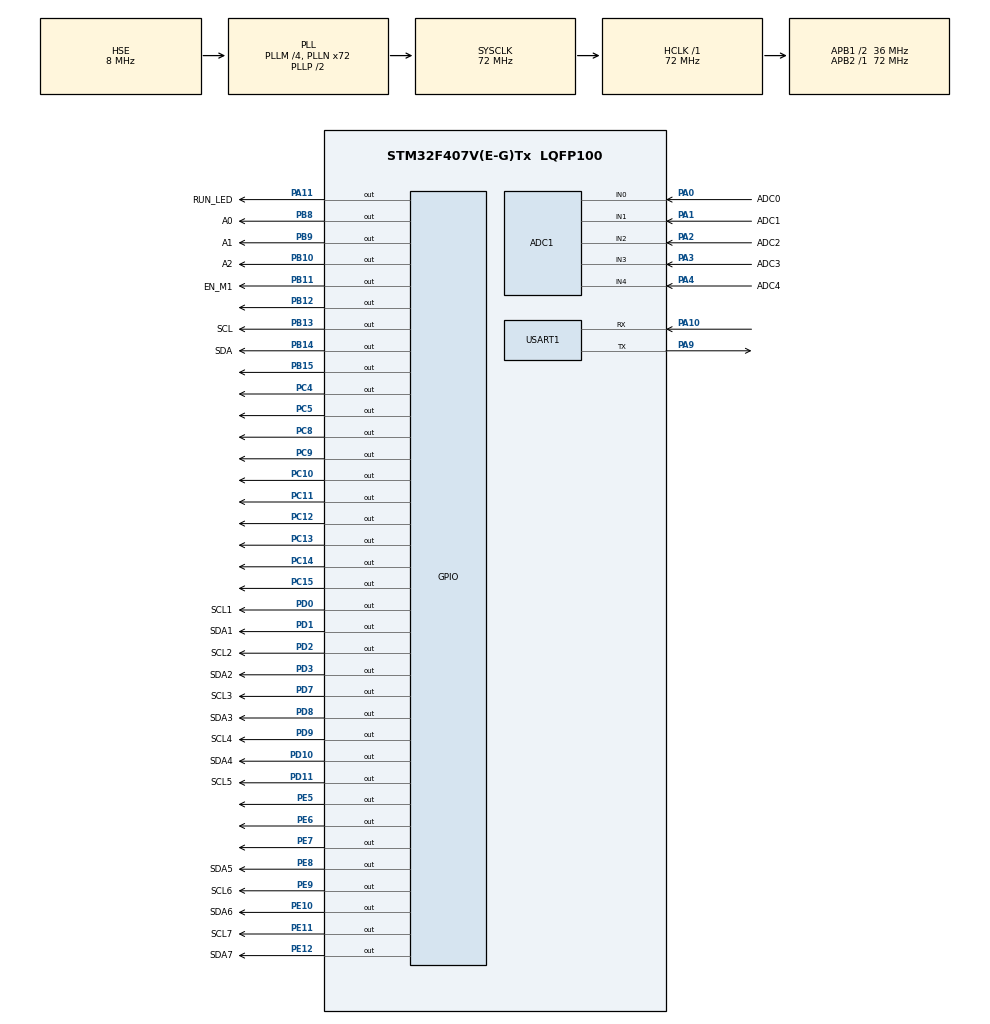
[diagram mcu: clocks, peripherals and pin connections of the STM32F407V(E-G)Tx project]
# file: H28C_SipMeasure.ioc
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ADC1.Channel-0\#ChannelRegularConversion=ADC_CHANNEL_0
ADC1.Channel-1\#ChannelRegularConversion=ADC_CHANNEL_1
ADC1.Channel-2\#ChannelRegularConversion=ADC_CHANNEL_2
ADC1.Channel-3\#ChannelRegularConversion=ADC_CHANNEL_3
ADC1.Channel-4\#ChannelRegularConversion=ADC_CHANNEL_4
ADC1.ContinuousConvMode=ENABLE
ADC1.NbrOfConversion=5
ADC1.NbrOfConversionFlag=1
ADC1.Rank-0\#ChannelRegularConversion=1
ADC1.Rank-1\#ChannelRegularConversion=2
ADC1.Rank-2\#ChannelRegularConversion=3
ADC1.Rank-3\#ChannelRegularConversion=4
ADC1.Rank-4\#ChannelRegularConversion=5
ADC1.SamplingTime-0\#ChannelRegularConversion=ADC_SAMPLETIME_144CYCLES
ADC1.SamplingTime-1\#ChannelRegularConversion=ADC_SAMPLETIME_144CYCLES
ADC1.SamplingTime-2\#ChannelRegularConversion=ADC_SAMPLETIME_144CYCLES
ADC1.SamplingTime-3\#ChannelRegularConversion=ADC_SAMPLETIME_144CYCLES
ADC1.SamplingTime-4\#ChannelRegularConversion=ADC_SAMPLETIME_144CYCLES
ADC1.ScanConvMode=ENABLE
ADC1.master=1
Mcu.Family=STM32F4
Mcu.Name=STM32F407V(E-G)Tx
Mcu.Package=LQFP100
NVIC.PriorityGroup=NVIC_PRIORITYGROUP_4
NVIC.TIM7_IRQn=true\:0\:0\:false\:false\:true\:true\:true\:true
NVIC.USART1_IRQn=true\:1\:0\:true\:false\:true\:true\:true\:true
PA0-WKUP.GPIO_Label=ADC0
PA0-WKUP.Signal=ADCx_IN0
PA1.GPIO_Label=ADC1
PA1.Signal=ADCx_IN1
PA10.Mode=Asynchronous
PA10.Signal=USART1_RX
PA11.GPIO_Label=RUN_LED
PA11.Signal=GPIO_Output
PA13.Mode=Serial_Wire
PA13.Signal=SYS_JTMS-SWDIO
PA14.Mode=Serial_Wire
PA14.Signal=SYS_JTCK-SWCLK
PA2.GPIO_Label=ADC2
PA2.Signal=ADCx_IN2
PA3.GPIO_Label=ADC3
PA3.Signal=ADCx_IN3
PA4.GPIO_Label=ADC4
PA4.Signal=ADCx_IN4
PA9.Mode=Asynchronous
PA9.Signal=USART1_TX
PB10.GPIO_Label=A2
PB10.Signal=GPIO_Output
PB11.GPIO_Label=EN_M1
PB11.Signal=GPIO_Output
PB12.Signal=GPIO_Output
PB13.GPIO_Label=SCL
PB13.Signal=GPIO_Output
PB14.GPIO_Label=SDA
PB14.Signal=GPIO_Output
PB15.Signal=GPIO_Output
PB8.GPIO_Label=A0
PB8.Signal=GPIO_Output
PB9.GPIO_Label=A1
PB9.Signal=GPIO_Output
PC10.Signal=GPIO_Output
PC11.Signal=GPIO_Output
PC12.Signal=GPIO_Output
PC13-ANTI_TAMP.Signal=GPIO_Output
PC14-OSC32_IN.Signal=GPIO_Output
PC15-OSC32_OUT.Signal=GPIO_Output
PC4.Signal=GPIO_Output
PC5.Signal=GPIO_Output
PC8.Signal=GPIO_Output
PC9.Signal=GPIO_Output
PD0.GPIO_Label=SCL1
PD0.Signal=GPIO_Output
PD1.GPIO_Label=SDA1
PD1.Signal=GPIO_Output
PD10.GPIO_Label=SDA4
PD10.Signal=GPIO_Output
PD11.GPIO_Label=SCL5
PD11.Signal=GPIO_Output
PD2.GPIO_Label=SCL2
PD2.Signal=GPIO_Output
PD3.GPIO_Label=SDA2
PD3.Signal=GPIO_Output
PD7.GPIO_Label=SCL3
PD7.Signal=GPIO_Output
PD8.GPIO_Label=SDA3
PD8.Signal=GPIO_Output
PD9.GPIO_Label=SCL4
PD9.Signal=GPIO_Output
PE10.GPIO_Label=SDA6
PE10.Signal=GPIO_Output
PE11.GPIO_Label=SCL7
PE11.Signal=GPIO_Output
PE12.GPIO_Label=SDA7
PE12.Signal=GPIO_Output
PE5.Signal=GPIO_Output
PE6.Signal=GPIO_Output
PE7.Signal=GPIO_Output
PE8.GPIO_Label=SDA5
PE8.Signal=GPIO_Output
PE9.GPIO_Label=SCL6
PE9.Signal=GPIO_Output
PH0-OSC_IN.Mode=HSE-External-Clock-Source
PH0-OSC_IN.Signal=RCC_OSC_IN
PH1-OSC_OUT.Mode=HSE-External-Clock-Source
PH1-OSC_OUT.Signal=RCC_OSC_OUT
ProjectManager.HeapSize=0x200
ProjectManager.StackSize=0x400
ProjectManager.TargetToolchain=SW4STM32
RCC.48MHZClocksFreq_Value=36000000
RCC.AHBFreq_Value=72000000
RCC.APB1CLKDivider=RCC_HCLK_DIV2
RCC.APB1Freq_Value=36000000
RCC.APB1TimFreq_Value=72000000
RCC.APB2Freq_Value=72000000
RCC.APB2TimFreq_Value=72000000
RCC.CortexFreq_Value=72000000
RCC.HCLKFreq_Value=72000000
RCC.HSE_VALUE=8000000
RCC.HSI_VALUE=16000000
RCC.LSE_VALUE=32768
RCC.PLLM=4
RCC.PLLN=72
RCC.PLLSourceVirtual=RCC_PLLSOURCE_HSE
RCC.SYSCLKFreq_VALUE=72000000
RCC.SYSCLKSource=RCC_SYSCLKSOURCE_PLLCLK
RCC.VCOOutputFreq_Value=144000000
SH.ADCx_IN0.0=ADC1_IN0,IN0
SH.ADCx_IN1.0=ADC1_IN1,IN1
SH.ADCx_IN2.0=ADC1_IN2,IN2
SH.ADCx_IN3.0=ADC1_IN3,IN3
SH.ADCx_IN4.0=ADC1_IN4,IN4
TIM7.Period=1000
TIM7.Prescaler=71
USART1.VirtualMode=VM_ASYNC
VP_TIM7_VS_ClockSourceINT.Mode=Enable_Timer
board=custom

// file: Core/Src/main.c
/* USER CODE BEGIN Header */
/**
  ******************************************************************************
  * @file           : main.c
  * @brief          : Main program body
  ******************************************************************************
  * @attention
  *
  * Copyright (c) 2023 STMicroelectronics.
  * All rights reserved.
  *
  * This software is licensed under terms that can be found in the LICENSE file
  * in the root directory of this software component.
  * If no LICENSE file comes with this software, it is provided AS-IS.
  *
  ******************************************************************************
  */
/* USER CODE END Header */
#include "main.h"
#include "adc.h"
#include "tim.h"
#include "usart.h"
#include "gpio.h"

/* USER CODE BEGIN Includes */
#include "command.h"
#include "stdio.h"
/* USER CODE END Includes */

/* USER CODE BEGIN PV */
char string[50] ={};
uint8_t rx=0;
char uart_index = 0;
char uart_finished_flag = 0;
/* USER CODE END PV */

void SystemClock_Config(void);

/* USER CODE BEGIN 0 */
int _write(int fd,char *ptr,int len)
{
    HAL_UART_Transmit(&huart1,(uint8_t*)ptr,len,0xffff);
    return len;
}
/* USER CODE END 0 */

int main(void)
{

  /* MCU Configuration--------------------------------------------------------*/

  /* Reset of all peripherals, Initializes the Flash interface and the Systick. */
  HAL_Init();

  /* Configure the system clock */
  SystemClock_Config();

  /* Initialize all configured peripherals */
  MX_GPIO_Init();
  MX_ADC1_Init();
  MX_TIM7_Init();
  MX_USART1_UART_Init();
  /* USER CODE BEGIN 2 */
    HAL_GPIO_WritePin(GPIOC,GPIO_PIN_6,1);
    HAL_GPIO_WritePin(GPIOC,GPIO_PIN_0,0);
    HAL_GPIO_WritePin(GPIOC,GPIO_PIN_1,1);
  HAL_UART_Receive_IT(&huart1,(uint8_t *)&rx,1);
  HAL_TIM_Base_Start_IT(&htim7);

  /* USER CODE END 2 */

  /* Infinite loop */
  while (1)
  {
    /* USER CODE BEGIN 3 */
      if (uart_finished_flag==1){
//          printf("%s\n",string);
          CmdCheck((char *)string);
          uart_finished_flag =0;
          uart_index = 0;
      }
  }
  /* USER CODE END 3 */
}

void SystemClock_Config(void)
{
  RCC_OscInitTypeDef RCC_OscInitStruct = {0};
  RCC_ClkInitTypeDef RCC_ClkInitStruct = {0};

  /** Configure the main internal regulator output voltage
  */
  __HAL_RCC_PWR_CLK_ENABLE();
  __HAL_PWR_VOLTAGESCALING_CONFIG(PWR_REGULATOR_VOLTAGE_SCALE1);

  /** Initializes the RCC Oscillators according to the specified parameters
  * in the RCC_OscInitTypeDef structure.
  */
  RCC_OscInitStruct.OscillatorType = RCC_OSCILLATORTYPE_HSE;
  RCC_OscInitStruct.HSEState = RCC_HSE_ON;
  RCC_OscInitStruct.PLL.PLLState = RCC_PLL_ON;
  RCC_OscInitStruct.PLL.PLLSource = RCC_PLLSOURCE_HSE;
  RCC_OscInitStruct.PLL.PLLM = 4;
  RCC_OscInitStruct.PLL.PLLN = 72;
  RCC_OscInitStruct.PLL.PLLP = RCC_PLLP_DIV2;
  RCC_OscInitStruct.PLL.PLLQ = 4;
  if (HAL_RCC_OscConfig(&RCC_OscInitStruct) != HAL_OK)
  {
    Error_Handler();
  }

  /** Initializes the CPU, AHB and APB buses clocks
  */
  RCC_ClkInitStruct.ClockType = RCC_CLOCKTYPE_HCLK|RCC_CLOCKTYPE_SYSCLK
                              |RCC_CLOCKTYPE_PCLK1|RCC_CLOCKTYPE_PCLK2;
  RCC_ClkInitStruct.SYSCLKSource = RCC_SYSCLKSOURCE_PLLCLK;
  RCC_ClkInitStruct.AHBCLKDivider = RCC_SYSCLK_DIV1;
  RCC_ClkInitStruct.APB1CLKDivider = RCC_HCLK_DIV2;
  RCC_ClkInitStruct.APB2CLKDivider = RCC_HCLK_DIV1;

  if (HAL_RCC_ClockConfig(&RCC_ClkInitStruct, FLASH_LATENCY_2) != HAL_OK)
  {
    Error_Handler();
  }
}

/* USER CODE BEGIN 4 */
void HAL_TIM_PeriodElapsedCallback(TIM_HandleTypeDef *htim)
{
    if (htim==&htim7)
    {
        static uint16_t  i = 0;
        i++;
        if (i ==500)
        {
            HAL_GPIO_TogglePin(GPIOC,GPIO_PIN_6);
            i=0;
        }
    }
}

void HAL_UART_RxCpltCallback(UART_HandleTypeDef *huart)
{
    if (huart->Instance==USART1)
    {
        //小写字母转换成大写字母
        if ((rx>96)&&(rx<123)){
            rx = rx-32;
        }
        if (rx=='\b'){
            if (uart_index>0)uart_index--;
        }
        else if (rx=='\r' || (rx == '\n')){
            string[uart_index]=='\0';
            uart_finished_flag =1;
        }
        else{
            string[uart_index]=rx;
        }
        HAL_UART_Receive_IT(&huart1,(uint8_t *)&rx,1);
        uart_index++;
    }
}
/* USER CODE END 4 */

void Error_Handler(void)
{
  __disable_irq();
  while (1)
  {
  }
}
